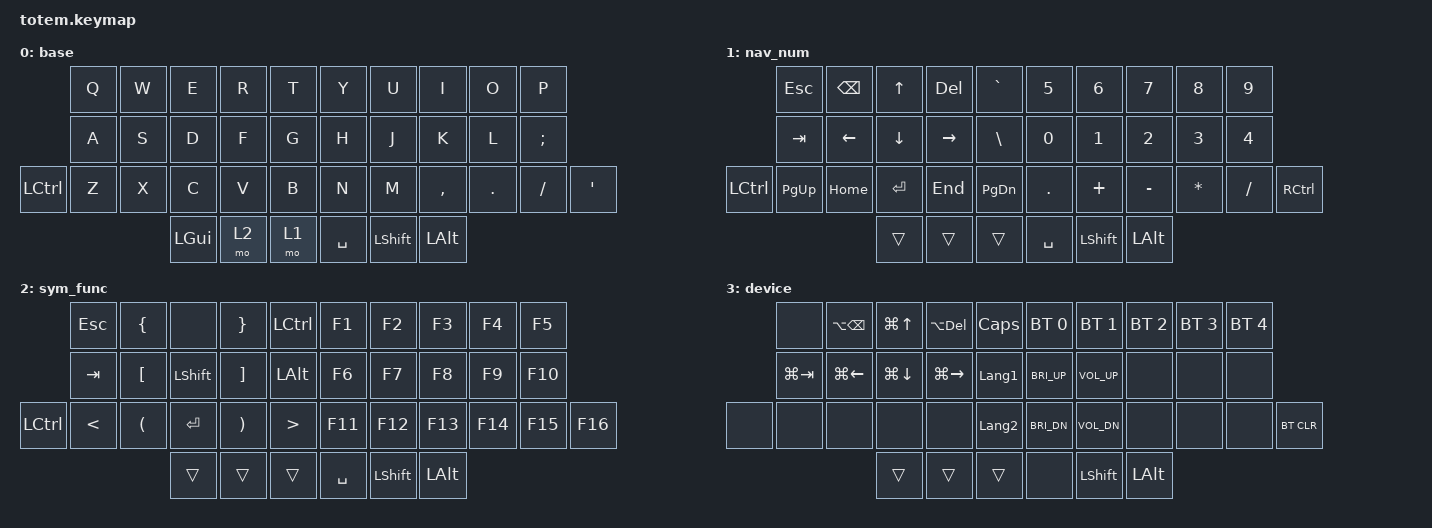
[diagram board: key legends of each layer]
//
//                                                        ▀▀▀▀▀     ▀▀▀▀▀          ▀▀█▀▀
//                                                        ▄▀▀▀▄  ▄  ▄▀▀▀▄  ▄  ▄▀▀▀▄  █  ▄▀▀▀▄
//                                                        █   █  █  █   █  █  █   █  █  █   █
//                                                         ▀▀▀   █   ▀▀▀   █   ▀▀▀   ▀   ▀▀▀
//                                                               █      ▄▄▄█▄▄▄    █   █  
//                                                               ▀      █  █  █     █▄█
//                                                             ▀▀▀▀▀    █  █  █      ▀
//                                                                      ▀  ▀  ▀
//
// ▄▄▄▄▄▄▄▄▄▄▄▄▄▄▄▄▄▄▄▄▄▄▄▄▄▄▄▄▄▄▄▄▄▄▄▄▄▄▄▄▄▄▄▄▄▄▄▄▄▄▄▄▄▄▄▄▄▄▄▄▄▄▄▄▄▄▄▄▄▄▄▄▄▄▄▄▄▄▄▄▄▄▄▄▄▄▄▄▄▄▄▄▄▄▄▄▄▄▄▄▄▄▄▄▄▄▄▄▄▄▄▄▄▄▄▄▄▄▄▄▄▄▄▄▄▄▄▄▄▄▄▄▄▄▄▄▄▄▄▄▄▄▄▄▄▄▄▄▄

#include <behaviors.dtsi>
#include <dt-bindings/zmk/bt.h>
#include <dt-bindings/zmk/keys.h>

/ {
    keymap {
        compatible = "zmk,keymap";

        base {
            bindings = <
           &kp Q  &kp W  &kp E         &kp R  &kp T    &kp Y      &kp U           &kp I         &kp O    &kp P
           &kp A  &kp S  &kp D         &kp F  &kp G    &kp H      &kp J           &kp K         &kp L    &kp SEMI
&kp LCTRL  &kp Z  &kp X  &kp C         &kp V  &kp B    &kp N      &kp M           &kp COMMA     &kp DOT  &kp FSLH  &kp APOS
                         &kp LEFT_GUI  &mo 2  &mo 1    &kp SPACE  &kp LEFT_SHIFT  &kp LEFT_ALT
            >;
        };

        nav_num {
            bindings = <
                  &kp ESC      &kp BACKSPACE  &kp UP     &kp DELETE  &kp GRAVE        &kp N5      &kp N6          &kp N7        &kp N8        &kp N9
                  &kp TAB      &kp LEFT       &kp DOWN   &kp RIGHT   &kp BACKSLASH    &kp N0      &kp N1          &kp N2        &kp N3        &kp N4
&kp LEFT_CONTROL  &kp PAGE_UP  &kp HOME       &kp ENTER  &kp END     &kp PAGE_DOWN    &kp PERIOD  &kp PLUS        &kp MINUS     &kp ASTERISK  &kp SLASH  &kp RIGHT_CONTROL
                                              &trans     &trans      &trans           &kp SPACE   &kp LEFT_SHIFT  &kp LEFT_ALT
            >;
        };

        sym_func {
            bindings = <
                  &kp ESC        &kp LEFT_BRACE        &none       &kp RIGHT_BRACE        &kp LEFT_CONTROL    &kp F1     &kp F2          &kp F3        &kp F4   &kp F5
                  &kp TAB        &kp LBKT              &kp LSHIFT  &kp RBKT               &kp LEFT_ALT        &kp F6     &kp F7          &kp F8        &kp F9   &kp F10
&kp LEFT_CONTROL  &kp LESS_THAN  &kp LEFT_PARENTHESIS  &kp ENTER   &kp RIGHT_PARENTHESIS  &kp GREATER_THAN    &kp F11    &kp F12         &kp F13       &kp F14  &kp F15  &kp F16
                                                       &trans      &trans                 &trans              &kp SPACE  &kp LEFT_SHIFT  &kp LEFT_ALT
            >;
        };

        device {
            bindings = <
       &none        &kp LA(BACKSPACE)   &kp LG(UP_ARROW)    &kp LA(DELETE)       &kp CAPS          &bt BT_SEL 0  &bt BT_SEL 1    &bt BT_SEL 2  &bt BT_SEL 3  &bt BT_SEL 4
       &kp LG(TAB)  &kp LG(LEFT_ARROW)  &kp LG(DOWN_ARROW)  &kp LG(RIGHT_ARROW)  &kp LANGUAGE_1    &kp C_BRI_UP  &kp C_VOL_UP    &none         &none         &none
&none  &none        &none               &none               &none                &kp LANGUAGE_2    &kp C_BRI_DN  &kp C_VOL_DN    &none         &none         &none         &bt BT_CLR
                                        &trans              &trans               &trans            &none         &kp LEFT_SHIFT  &kp LEFT_ALT
            >;
        };

        extra1 { status = "reserved"; };

        extra2 { status = "reserved"; };

        extra3 { status = "reserved"; };
    };

    conditional_layers {
        compatible = "zmk,conditional-layers";

        device {
            if-layers = <1 2>;
            then-layer = <3>;
        };
    };
};
